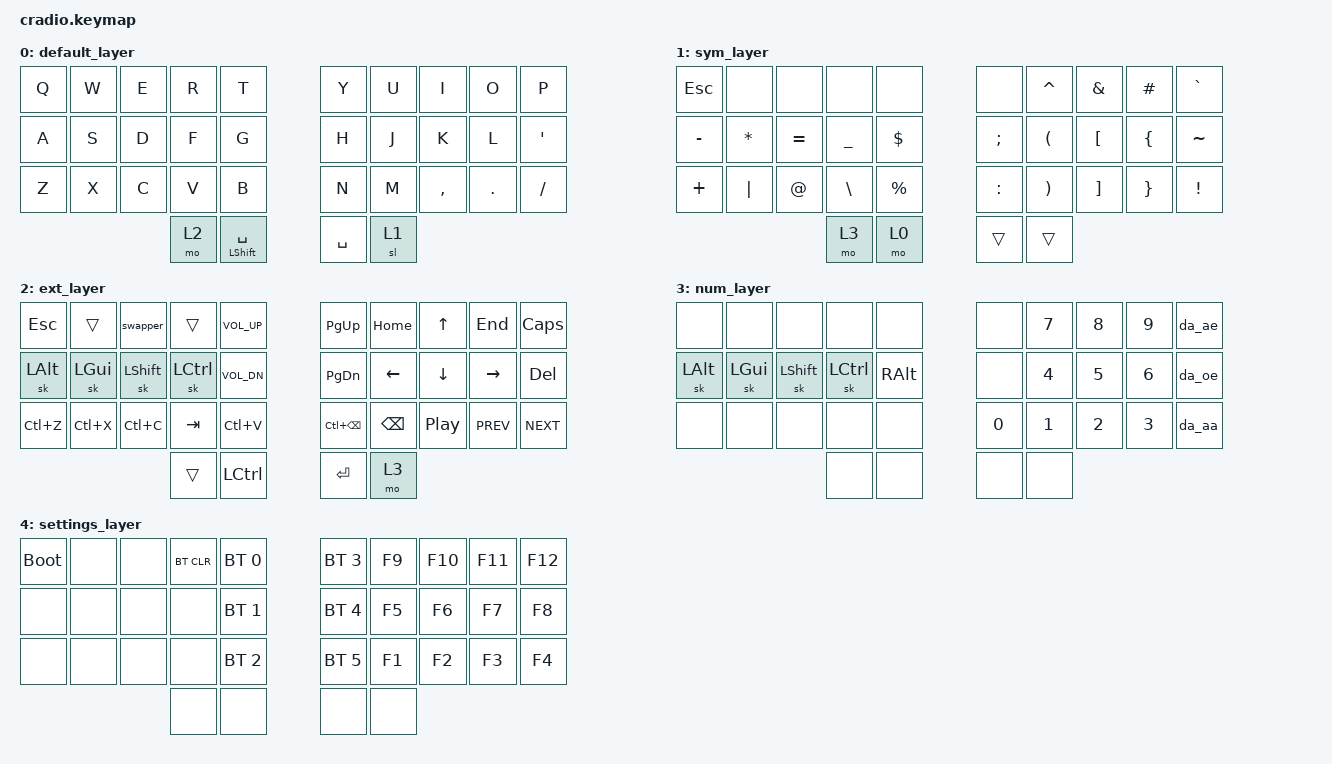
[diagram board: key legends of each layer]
#include <behaviors.dtsi>
#include <dt-bindings/zmk/keys.h>
#include <dt-bindings/zmk/bt.h>
#define HOST_OS 2
#include "zmk-helpers/helper.h"
#include "zmk-helpers/unicode-chars/danish.dtsi"
#include "zmk-helpers/key-labels/34.h"

&mt {
    //  flavor = "tap-preferred";
    // tapping_term_ms = <200>;
};

&sk { ignore-modifiers; };

ZMK_TRI_STATE(swapper,
    bindings = <&kt LGUI>, <&kp TAB>, <&kt LGUI>;
    ignored-key-positions = <LT2>;
)

/ {
    macros {
        // sometimes my device thinks a modifier is being held down
        // pressing all modifiers fixes it.

        unstick: unstick {
            label = "ZM_unstick";
            compatible = "zmk,behavior-macro";
            #binding-cells = <0>;
            bindings = <&kp LSHIFT &kp RSHIFT &kp LCTRL &kp RCTRL &kp LALT &kp RALT &kp LGUI &kp RGUI>;
        };
    };

    combos {
        compatible = "zmk,combos";


        combo_accent {
            timeout-ms = <300>;
            key-positions = <32 31>;
            bindings = <&mo 4>;
        };

    };

    keymap {
        compatible = "zmk,keymap";

        // Base alpha layer


        default_layer {
            bindings = <
&kp Q  &kp W  &kp E  &kp R  &kp T               &kp Y      &kp U  &kp I      &kp O    &kp P
&kp A  &kp S  &kp D  &kp F  &kp G               &kp H      &kp J  &kp K      &kp L    &kp SQT
&kp Z  &kp X  &kp C  &kp V  &kp B               &kp N      &kp M  &kp COMMA  &kp DOT  &kp SLASH
                     &mo 2  &mt LSHIFT SPACE    &kp SPACE  &sl 1
            >;
        };

        // Numbers and high frequency symbols

        sym_layer {
            bindings = <
&kp ESCAPE  &none     &none      &none          &none          &none      &kp CARET  &kp AMPS  &kp HASH  &kp GRAVE
&kp MINUS   &kp STAR  &kp EQUAL  &kp UNDER      &kp DOLLAR     &kp SEMI   &kp LPAR   &kp LBKT  &kp LBRC  &kp TILDE
&kp PLUS    &kp PIPE  &kp AT     &kp BACKSLASH  &kp PERCENT    &kp COLON  &kp RPAR   &kp RBKT  &kp RBRC  &kp EXCL
                                 &mo 3          &mo 0          &trans     &trans
            >;
        };

        // Main modifiers and arrow keys

        ext_layer {
            bindings = <
&kp ESC    &trans     &swapper     &trans     &kp C_VOL_UP    &kp PG_UP     &kp HOME  &kp UP            &kp END     &kp CAPS
&sk LALT   &sk LGUI   &sk LSHIFT   &sk LCTRL  &kp C_VOL_DN    &kp PG_DN     &kp LEFT  &kp DOWN          &kp RIGHT   &kp DEL
&kp LC(Z)  &kp LC(X)  &kp LC(C)    &kp TAB    &kp LC(V)       &kp LC(BSPC)  &kp BSPC  &kp C_PLAY_PAUSE  &kp C_PREV  &kp C_NEXT
                                   &trans     &kp LCTRL       &kp ENTER     &mo 3
            >;
        };

        // Function keys with modifiers

        num_layer {
            bindings = <
&none     &none     &none       &none      &none       &none   &kp N7        &kp N8  &kp N9  &da_ae
&sk LALT  &sk LGUI  &sk LSHIFT  &sk LCTRL  &kp RALT    &none   &kp N4        &kp N5  &kp N6  &da_oe
&none     &none     &none       &none      &none       &kp N0  &kp NUMBER_1  &kp N2  &kp N3  &da_aa
                                &none      &none       &none   &none
            >;
        };

        // Low frequency symbols.
        // Used to type regional accents.
        // Used to change the keyboard's settings.

        settings_layer {
            bindings = <
&bootloader  &none  &none  &bt BT_CLR  &bt BT_SEL 0    &bt BT_SEL 3  &kp F9  &kp F10  &kp F11  &kp F12
&none        &none  &none  &none       &bt BT_SEL 1    &bt BT_SEL 4  &kp F5  &kp F6   &kp F7   &kp F8
&none        &none  &none  &none       &bt BT_SEL 2    &bt BT_SEL 5  &kp F1  &kp F2   &kp F3   &kp F4
                           &none       &none           &none         &none
            >;
        };
    };
};
